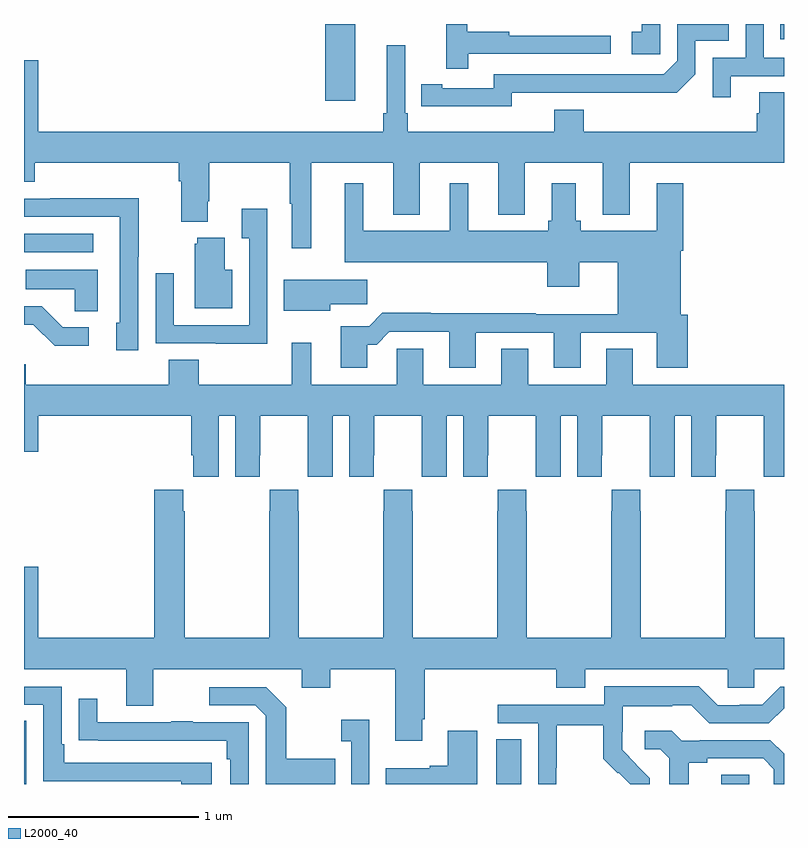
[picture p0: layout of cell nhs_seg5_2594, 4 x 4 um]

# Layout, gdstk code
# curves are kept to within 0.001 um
import gdstk
lib = gdstk.Library(unit=1e-6, precision=1e-09)
def R(c, l, rs):  # rectangles x0, y0, x1, y1
    for r in rs: c.add(gdstk.rectangle(r[:2], r[2:], *l))
def P(c, l, *ps):  # polygons
    for p in ps: c.add(gdstk.Polygon(p, *l))
L2000_40 = (2000, 40)

nhs_seg5_2594 = lib.new_cell('nhs_seg5_2594')
R(nhs_seg5_2594, L2000_40, [(261,878.799,261.012,879.131), (263.486,878.799,263.617,879.035), (264.671,878.799,264.816,878.849), (261,881.598,261.364,881.694), (262.586,882.396,262.744,882.799), (264.979,882.72,265,882.799)])
P(nhs_seg5_2594, L2000_40, [(264.348,882.799),(264.251,882.799),(264.251,882.759),(264.198,882.759),(264.198,882.639),(264.348,882.639)],
  [(264.721,882.525),(265,882.525),(265,882.621),(264.894,882.621),(264.894,882.799),(264.798,882.799),(264.798,882.621),(264.624,882.621),(264.624,882.414),(264.721,882.414)],
  [(263.339,882.642),(264.088,882.642),(264.088,882.738),(263.555,882.738),(263.555,882.758),(263.332,882.758),(263.332,882.799),(263.222,882.799),(263.222,882.564),(263.339,882.564)],
  [(263.568,882.438),(264.436,882.437),(264.534,882.534),(264.534,882.711),(264.708,882.711),(264.708,882.799),(264.438,882.799),(264.438,882.606),(264.366,882.534),(263.472,882.534),(263.472,882.462),(263.2,882.462),(263.2,882.482),(263.092,882.482),(263.092,882.366),(263.568,882.365)],
  [(265,882.44),(264.869,882.44),(264.869,882.33),(264.857,882.33),(264.857,882.232),(263.945,882.232),(263.945,882.349),(263.792,882.349),(263.792,882.232),(263.021,882.232),(263.021,882.328),(263.007,882.328),(263.007,882.688),(262.91,882.688),(262.91,882.328),(262.891,882.328),(262.891,882.232),(261.076,882.232),(261.076,882.607),(261,882.607),(261,881.969),(261.056,881.969),(261.056,882.068),(261.815,882.068),(261.815,881.972),(261.827,881.972),(261.827,881.759),(261.967,881.759),(261.967,881.866),(261.975,881.866),(261.975,882.068),(262.399,882.068),(262.399,881.852),(262.409,881.852),(262.409,881.619),(262.513,881.619),(262.513,882.068),(262.943,882.068),(262.943,881.795),(263.083,881.795),(263.083,882.068),(263.495,882.068),(263.495,881.795),(263.635,881.795),(263.635,882.068),(264.047,882.068),(264.047,881.795),(264.187,881.795),(264.187,882.068),(265,882.068)],
  [(262.807,881.111),(262.856,881.111),(262.923,881.178),(263.237,881.178),(263.237,880.989),(263.377,880.989),(263.377,881.175),(263.789,881.175),(263.789,880.989),(263.929,880.989),(263.929,881.175),(264.329,881.175),(264.329,880.989),(264.494,880.989),(264.494,881.268),(264.457,881.268),(264.457,881.606),(264.47,881.606),(264.47,881.962),(264.329,881.962),(264.329,881.71),(263.931,881.71),(263.931,881.763),(263.905,881.763),(263.905,881.962),(263.777,881.962),(263.777,881.763),(263.758,881.763),(263.758,881.71),(263.338,881.71),(263.338,881.962),(263.24,881.962),(263.24,881.71),(262.786,881.71),(262.786,881.962),(262.688,881.962),(262.688,881.546),(263.753,881.546),(263.753,881.415),(263.923,881.415),(263.923,881.546),(264.125,881.546),(264.125,881.272),(263.693,881.272),(263.693,881.276),(263.141,881.276),(263.141,881.279),(262.886,881.279),(262.816,881.209),(262.667,881.209),(262.667,880.989),(262.807,880.989)],
  [(261.6,881.575),(261.603,881.575),(261.603,881.882),(261.139,881.882),(261.139,881.88),(261,881.88),(261,881.784),(261.504,881.784),(261.504,881.226),(261.485,881.226),(261.485,881.082),(261.6,881.082)],
  [(262.281,881.827),(262.145,881.827),(262.145,881.671),(262.185,881.671),(262.185,881.214),(261.789,881.214),(261.789,881.488),(261.693,881.488),(261.693,881.118),(262.009,881.118),(262.009,881.117),(262.281,881.117)],
  [(262.096,881.506),(262.057,881.506),(262.057,881.674),(261.911,881.674),(261.911,881.643),(261.899,881.643),(261.899,881.303),(262.096,881.303)],
  [(261.388,881.506),(261.01,881.506),(261.01,881.402),(261.267,881.402),(261.267,881.287),(261.388,881.287)],
  [(262.612,881.323),(262.807,881.323),(262.807,881.452),(262.368,881.452),(262.368,881.291),(262.612,881.291)],
  [(261.34,881.202),(261.205,881.202),(261.094,881.313),(261,881.313),(261,881.217),(261.048,881.217),(261.161,881.105),(261.34,881.105)],
  [(264.065,881.09),(264.065,880.9),(263.653,880.9),(263.653,881.09),(263.513,881.09),(263.513,880.9),(263.101,880.9),(263.101,881.09),(262.962,881.09),(262.962,880.9),(262.513,880.9),(262.513,881.122),(262.409,881.122),(262.409,880.9),(261.921,880.9),(261.921,881.033),(261.761,881.033),(261.761,880.9),(261.008,880.9),(261.008,881.009),(261,881.009),(261,880.548),(261.076,880.548),(261.076,880.736),(261.881,880.736),(261.881,880.528),(261.89,880.528),(261.89,880.416),(262.024,880.416),(262.024,880.736),(262.112,880.736),(262.112,880.416),(262.242,880.416),(262.242,880.528),(262.243,880.528),(262.243,880.736),(262.493,880.736),(262.493,880.528),(262.494,880.528),(262.494,880.416),(262.624,880.416),(262.624,880.736),(262.712,880.736),(262.712,880.416),(262.842,880.416),(262.842,880.528),(262.843,880.528),(262.843,880.736),(263.093,880.736),(263.093,880.528),(263.094,880.528),(263.094,880.416),(263.224,880.416),(263.224,880.736),(263.312,880.736),(263.312,880.416),(263.442,880.416),(263.442,880.528),(263.443,880.528),(263.443,880.736),(263.693,880.736),(263.693,880.528),(263.694,880.528),(263.694,880.416),(263.824,880.416),(263.824,880.736),(263.912,880.736),(263.912,880.416),(264.042,880.416),(264.042,880.528),(264.043,880.528),(264.043,880.736),(264.293,880.736),(264.293,880.528),(264.294,880.528),(264.294,880.416),(264.424,880.416),(264.424,880.736),(264.512,880.736),(264.512,880.416),(264.642,880.416),(264.642,880.528),(264.643,880.528),(264.643,880.736),(264.893,880.736),(264.893,880.528),(264.894,880.528),(264.894,880.416),(265,880.416),(265,880.9),(264.205,880.9),(264.205,881.09)],
  [(263.095,879.139),(263.108,879.139),(263.108,879.404),(263.801,879.404),(263.801,879.305),(263.953,879.305),(263.953,879.404),(264.705,879.404),(264.705,879.306),(264.843,879.306),(264.843,879.404),(265,879.404),(265,879.568),(264.846,879.568),(264.846,880.235),(264.843,880.235),(264.843,880.348),(264.693,880.348),(264.693,880.235),(264.691,880.235),(264.691,879.568),(264.246,879.568),(264.246,880.235),(264.243,880.235),(264.243,880.348),(264.093,880.348),(264.093,880.235),(264.091,880.235),(264.091,879.568),(263.646,879.568),(263.646,880.235),(263.643,880.235),(263.643,880.348),(263.493,880.348),(263.493,880.235),(263.491,880.235),(263.491,879.568),(263.046,879.568),(263.046,880.235),(263.043,880.235),(263.043,880.348),(262.893,880.348),(262.893,880.235),(262.891,880.235),(262.891,879.568),(262.446,879.568),(262.446,880.235),(262.443,880.235),(262.443,880.348),(262.293,880.348),(262.293,880.235),(262.291,880.235),(262.291,879.568),(261.846,879.568),(261.846,880.235),(261.839,880.235),(261.839,880.348),(261.686,880.348),(261.686,879.568),(261.076,879.568),(261.076,879.943),(261,879.943),(261,879.404),(261.539,879.404),(261.539,879.21),(261.679,879.21),(261.679,879.404),(262.463,879.404),(262.463,879.305),(262.611,879.305),(262.611,879.404),(262.955,879.404),(262.955,879.027),(263.095,879.027)],
  [(263.802,878.884),(263.805,878.884),(263.805,879.108),(264.049,879.108),(264.049,878.933),(264.126,878.856),(264.129,878.859),(264.19,878.799),(264.294,878.799),(264.294,878.83),(264.148,878.978),(264.148,879.075),(264.15,879.075),(264.15,879.209),(264.413,879.209),(264.413,879.213),(264.513,879.213),(264.606,879.12),(264.921,879.12),(265,879.199),(265,879.312),(264.981,879.312),(264.885,879.216),(264.767,879.216),(264.767,879.213),(264.651,879.213),(264.551,879.313),(264.054,879.313),(264.054,879.216),(263.493,879.216),(263.493,879.12),(263.706,879.12),(263.706,878.799),(263.802,878.799)],
  [(261.988,878.91),(261.211,878.91),(261.211,879.007),(261.198,879.007),(261.198,879.312),(261,879.312),(261,879.216),(261.102,879.216),(261.102,878.814),(261.827,878.814),(261.827,878.799),(261.988,878.799)],
  [(262.637,878.931),(262.381,878.931),(262.381,879.203),(262.275,879.309),(261.975,879.309),(261.975,879.213),(262.218,879.213),(262.272,879.159),(262.272,878.799),(262.637,878.799)],
  [(262.182,879.123),(261.887,879.123),(261.887,879.128),(261.775,879.128),(261.775,879.123),(261.385,879.123),(261.385,879.247),(261.289,879.247),(261.289,879.028),(261.391,879.028),(261.391,879.027),(262.066,879.027),(262.066,878.93),(262.086,878.93),(262.086,878.799),(262.182,878.799)],
  [(262.818,879.136),(262.671,879.136),(262.671,879.023),(262.722,879.023),(262.722,878.799),(262.818,878.799)],
  [(263.386,879.079),(263.231,879.079),(263.231,878.894),(263.135,878.894),(263.135,878.881),(262.905,878.881),(262.905,878.799),(263.386,878.799)],
  [(264.499,878.912),(264.595,878.912),(264.595,878.934),(264.89,878.934),(264.947,878.877),(264.947,878.799),(265,878.799),(265,878.958),(264.928,879.03),(264.556,879.03),(264.556,879.027),(264.462,879.027),(264.41,879.079),(264.267,879.079),(264.267,878.982),(264.348,878.982),(264.395,878.935),(264.395,878.799),(264.499,878.799)])

lib.write_gds('nhs_seg5_2594.gds')
